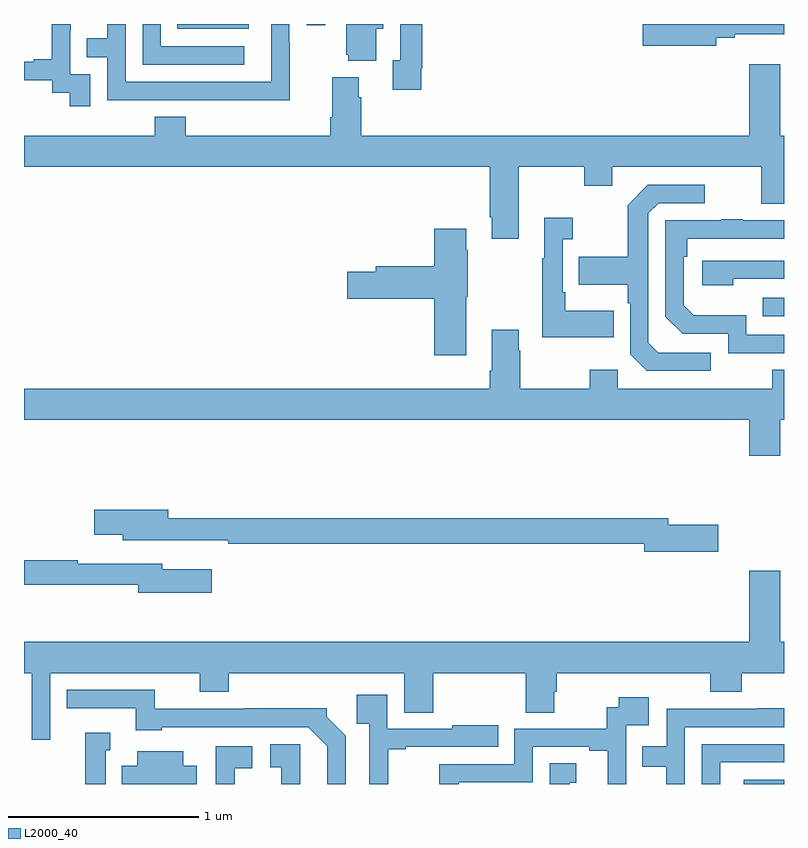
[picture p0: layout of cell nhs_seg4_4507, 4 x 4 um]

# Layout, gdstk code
import gdstk
lib = gdstk.Library(unit=1e-6, precision=1e-09)
def R(c, l, rs):  # rectangles x0, y0, x1, y1
    for r in rs: c.add(gdstk.rectangle(r[:2], r[2:], *l))
def P(c, l, *ps):  # polygons
    for p in ps: c.add(gdstk.Polygon(p, *l))
L2000_40 = (2000, 40)

nhs_seg4_4507 = lib.new_cell('nhs_seg4_4507')
R(nhs_seg4_4507, L2000_40, [(356.787,798.9,357,798.922), (356.887,801.363,357,801.459), (353.806,802.874,354.184,802.9), (354.489,802.893,354.585,802.9)])
P(nhs_seg4_4507, L2000_40, [(354.853,802.874),(354.892,802.874),(354.892,802.9),(354.695,802.9),(354.695,802.737),(354.707,802.737),(354.707,802.706),(354.853,802.706)],
  [(355.09,802.666),(355.097,802.666),(355.097,802.9),(354.981,802.9),(354.981,802.71),(354.941,802.71),(354.941,802.554),(355.09,802.554)],
  [(356.644,802.828),(356.74,802.828),(356.74,802.847),(357,802.847),(357,802.9),(356.256,802.9),(356.256,802.786),(356.644,802.786)],
  [(354.16,802.782),(353.721,802.782),(353.721,802.9),(353.625,802.9),(353.625,802.686),(354.16,802.686)],
  [(353.349,802.635),(353.244,802.635),(353.244,802.865),(353.246,802.865),(353.246,802.9),(353.147,802.9),(353.147,802.714),(353.051,802.714),(353.051,802.701),(353,802.701),(353,802.605),(353.148,802.605),(353.148,802.537),(353.241,802.537),(353.241,802.467),(353.349,802.467)],
  [(354.399,802.805),(354.396,802.805),(354.396,802.9),(354.3,802.9),(354.3,802.596),(353.535,802.596),(353.535,802.9),(353.439,802.9),(353.439,802.826),(353.329,802.826),(353.329,802.725),(353.439,802.725),(353.439,802.5),(353.935,802.5),(353.935,802.499),(354.399,802.499)],
  [(355.451,801.883),(355.463,801.883),(355.463,801.771),(355.603,801.771),(355.603,802.148),(355.948,802.148),(355.948,802.049),(356.095,802.049),(356.095,802.148),(356.879,802.148),(356.879,801.954),(357,801.954),(357,802.312),(356.98,802.312),(356.98,802.687),(356.816,802.687),(356.816,802.312),(354.776,802.312),(354.776,802.514),(354.763,802.514),(354.763,802.621),(354.623,802.621),(354.623,802.408),(354.611,802.408),(354.611,802.312),(353.852,802.312),(353.852,802.411),(353.687,802.411),(353.687,802.312),(353,802.312),(353,802.148),(355.451,802.148)],
  [(356.614,801.171),(356.337,801.171),(356.286,801.222),(356.286,801.903),(356.34,801.957),(356.584,801.957),(356.584,802.053),(356.283,802.053),(356.178,801.947),(356.178,801.675),(355.921,801.675),(355.921,801.527),(356.178,801.527),(356.178,801.431),(356.19,801.431),(356.19,801.162),(356.277,801.075),(356.614,801.075)],
  [(356.105,801.391),(355.849,801.391),(355.849,801.487),(355.836,801.487),(355.836,801.767),(355.888,801.767),(355.888,801.88),(355.739,801.88),(355.739,801.667),(355.728,801.667),(355.728,801.251),(356.105,801.251)],
  [(357,801.264),(356.802,801.264),(356.802,801.367),(356.525,801.367),(356.472,801.42),(356.472,801.674),(356.492,801.674),(356.492,801.771),(357,801.771),(357,801.867),(356.783,801.867),(356.783,801.872),(356.671,801.872),(356.671,801.867),(356.376,801.867),(356.376,801.36),(356.466,801.27),(356.706,801.27),(356.706,801.168),(357,801.168)],
  [(355.327,801.465),(355.335,801.465),(355.335,801.71),(355.327,801.71),(355.327,801.823),(355.16,801.823),(355.16,801.626),(354.851,801.626),(354.851,801.596),(354.702,801.596),(354.702,801.454),(355.16,801.454),(355.16,801.156),(355.327,801.156)],
  [(356.732,801.558),(357,801.558),(357,801.654),(356.571,801.654),(356.571,801.524),(356.732,801.524)],
  [(356.98,800.816),(357,800.816),(357,801.079),(356.938,801.079),(356.938,800.98),(356.124,800.98),(356.124,801.079),(355.978,801.079),(355.978,800.98),(355.611,800.98),(355.611,801.179),(355.603,801.179),(355.603,801.292),(355.463,801.292),(355.463,801.076),(355.451,801.076),(355.451,800.98),(353,800.98),(353,800.816),(356.816,800.816),(356.816,800.628),(356.98,800.628)],
  [(356.653,800.264),(356.392,800.264),(356.392,800.3),(353.758,800.3),(353.758,800.343),(353.37,800.343),(353.37,800.213),(353.519,800.213),(353.519,800.183),(354.076,800.183),(354.076,800.164),(356.264,800.164),(356.264,800.122),(356.653,800.122)],
  [(353.989,800.029),(353.728,800.029),(353.728,800.058),(353.282,800.058),(353.282,800.078),(353,800.078),(353,799.95),(353.6,799.95),(353.6,799.907),(353.989,799.907)],
  [(353.139,799.484),(353.924,799.484),(353.924,799.385),(354.077,799.385),(354.077,799.484),(355.001,799.484),(355.001,799.276),(355.154,799.276),(355.154,799.484),(355.64,799.484),(355.64,799.276),(355.792,799.276),(355.792,799.386),(355.805,799.386),(355.805,799.484),(356.612,799.484),(356.612,799.385),(356.777,799.385),(356.777,799.484),(357,799.484),(357,799.648),(356.98,799.648),(356.98,800.023),(356.816,800.023),(356.816,799.648),(353,799.648),(353,799.484),(353.042,799.484),(353.042,799.134),(353.139,799.134)],
  [(354.693,799.154),(354.594,799.253),(354.594,799.298),(354.16,799.298),(354.16,799.296),(353.688,799.296),(353.688,799.395),(353.224,799.395),(353.224,799.299),(353.588,799.299),(353.588,799.184),(353.724,799.184),(353.724,799.2),(354.495,799.2),(354.596,799.099),(354.596,798.9),(354.693,798.9)],
  [(354.917,799.083),(355.009,799.083),(355.009,799.095),(355.496,799.095),(355.496,799.21),(355.253,799.21),(355.253,799.191),(354.912,799.191),(354.912,799.369),(354.751,799.369),(354.751,799.217),(354.816,799.217),(354.816,798.9),(354.917,798.9)],
  [(355.287,798.909),(355.677,798.909),(355.677,799.095),(355.976,799.095),(355.976,799.075),(356.072,799.075),(356.072,798.9),(356.171,798.9),(356.171,798.905),(356.169,798.905),(356.169,799.209),(356.287,799.209),(356.287,799.357),(356.131,799.357),(356.131,799.305),(356.068,799.305),(356.068,799.191),(355.581,799.191),(355.581,799.005),(355.186,799.005),(355.186,798.9),(355.287,798.9)],
  [(356.478,799.2),(357,799.2),(357,799.298),(356.86,799.298),(356.86,799.296),(356.382,799.296),(356.382,799.098),(356.254,799.098),(356.254,798.99),(356.381,798.99),(356.381,798.9),(356.478,798.9)],
  [(353.43,799.077),(353.455,799.077),(353.455,799.171),(353.322,799.171),(353.322,798.9),(353.43,798.9)],
  [(356.664,799.014),(357,799.014),(357,799.11),(356.568,799.11),(356.568,798.9),(356.664,798.9)],
  [(354.454,799.108),(354.297,799.108),(354.297,798.987),(354.355,798.987),(354.355,798.9),(354.454,798.9)],
  [(354.108,798.982),(354.202,798.982),(354.202,799.098),(354.009,799.098),(354.009,798.9),(354.108,798.9)],
  [(353.908,798.997),(353.839,798.997),(353.839,799.072),(353.597,799.072),(353.597,798.997),(353.515,798.997),(353.515,798.9),(353.908,798.9)],
  [(355.873,798.907),(355.906,798.907),(355.906,799.01),(355.766,799.01),(355.766,798.9),(355.873,798.9)])

lib.write_gds('nhs_seg4_4507.gds')
